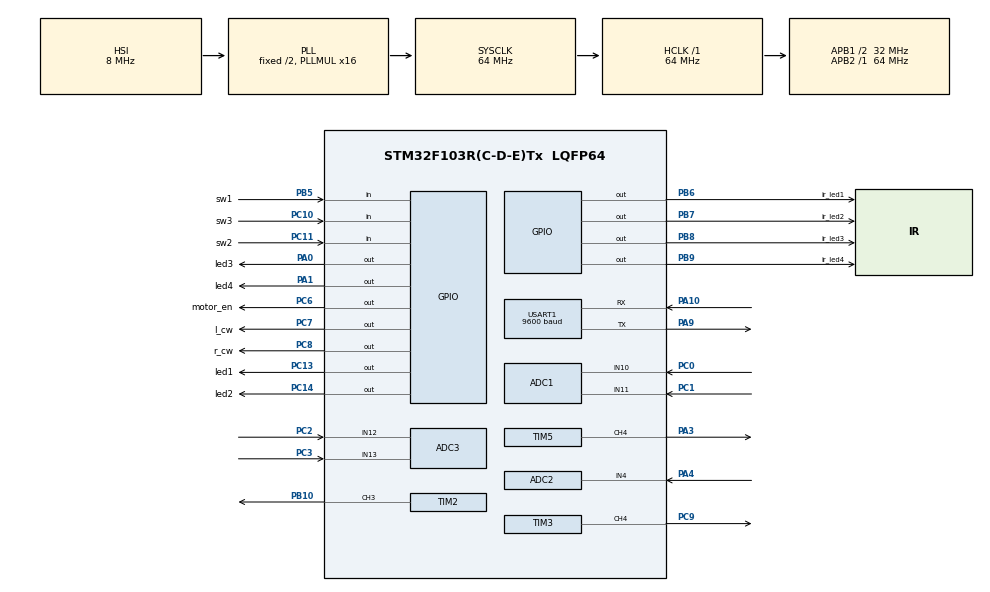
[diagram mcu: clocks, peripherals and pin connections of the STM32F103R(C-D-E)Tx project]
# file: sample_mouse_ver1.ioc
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ADC1.Channel-0\#ChannelRegularConversion=ADC_CHANNEL_10
ADC1.ContinuousConvMode=DISABLE
ADC1.DataAlign=ADC_DATAALIGN_RIGHT
ADC1.DiscontinuousConvMode=DISABLE
ADC1.EnableAnalogWatchDog=false
ADC1.EnableRegularConversion=ENABLE
ADC1.ExternalTrigConv=ADC_SOFTWARE_START
ADC1.InjNumberOfConversion=0
ADC1.NbrOfConversion=1
ADC1.NbrOfConversionFlag=1
ADC1.Rank-0\#ChannelRegularConversion=1
ADC1.SamplingTime-0\#ChannelRegularConversion=ADC_SAMPLETIME_55CYCLES_5
ADC1.ScanConvMode=ADC_SCAN_DISABLE
ADC1.master=1
ADC2.Channel-7\#ChannelRegularConversion=ADC_CHANNEL_4
ADC2.ContinuousConvMode=DISABLE
ADC2.DataAlign=ADC_DATAALIGN_RIGHT
ADC2.DiscontinuousConvMode=DISABLE
ADC2.EnableAnalogWatchDog=false
ADC2.EnableRegularConversion=ENABLE
ADC2.ExternalTrigConv=ADC_SOFTWARE_START
ADC2.InjNumberOfConversion=0
ADC2.NbrOfConversion=1
ADC2.NbrOfConversionFlag=1
ADC2.Rank-7\#ChannelRegularConversion=1
ADC2.SamplingTime-7\#ChannelRegularConversion=ADC_SAMPLETIME_55CYCLES_5
ADC2.ScanConvMode=ADC_SCAN_DISABLE
ADC3.Channel-0\#ChannelRegularConversion=ADC_CHANNEL_12
ADC3.NbrOfConversionFlag=1
ADC3.Rank-0\#ChannelRegularConversion=1
ADC3.SamplingTime-0\#ChannelRegularConversion=ADC_SAMPLETIME_55CYCLES_5
Mcu.Family=STM32F1
Mcu.Name=STM32F103R(C-D-E)Tx
Mcu.Package=LQFP64
NVIC.PriorityGroup=NVIC_PRIORITYGROUP_4
NVIC.TIM4_IRQn=true\:0\:0\:false\:false\:true\:true
PA0-WKUP.GPIO_Label=led3
PA0-WKUP.Signal=GPIO_Output
PA1.GPIO_Label=led4
PA1.Signal=GPIO_Output
PA10.Mode=Asynchronous
PA10.Signal=USART1_RX
PA3.Signal=S_TIM5_CH4
PA4.Signal=ADCx_IN4
PA9.Mode=Asynchronous
PA9.Signal=USART1_TX
PB10.Signal=S_TIM2_CH3
PB5.GPIO_Label=sw1
PB5.Signal=GPIO_Input
PB6.GPIO_Label=ir_led1
PB6.Signal=GPIO_Output
PB7.GPIO_Label=ir_led2
PB7.Signal=GPIO_Output
PB8.GPIO_Label=ir_led3
PB8.Signal=GPIO_Output
PB9.GPIO_Label=ir_led4
PB9.Signal=GPIO_Output
PC0.Signal=ADCx_IN10
PC1.Signal=ADCx_IN11
PC10.GPIO_Label=sw3
PC10.Signal=GPIO_Input
PC11.GPIO_Label=sw2
PC11.Signal=GPIO_Input
PC13-TAMPER-RTC.GPIO_Label=led1
PC13-TAMPER-RTC.Signal=GPIO_Output
PC14-OSC32_IN.GPIO_Label=led2
PC14-OSC32_IN.Signal=GPIO_Output
PC2.Signal=ADCx_IN12
PC3.Signal=ADCx_IN13
PC6.GPIO_Label=motor_en
PC6.Signal=GPIO_Output
PC7.GPIO_Label=l_cw
PC7.Signal=GPIO_Output
PC8.GPIO_Label=r_cw
PC8.Signal=GPIO_Output
PC9.Signal=S_TIM3_CH4
ProjectManager.HeapSize=0x200
ProjectManager.StackSize=0x400
ProjectManager.TargetToolchain=TrueSTUDIO
RCC.ADCPresc=RCC_ADCPCLK2_DIV8
RCC.AHBFreq_Value=64000000
RCC.APB1CLKDivider=RCC_HCLK_DIV2
RCC.APB1Freq_Value=32000000
RCC.APB1TimFreq_Value=64000000
RCC.APB2Freq_Value=64000000
RCC.APB2TimFreq_Value=64000000
RCC.HCLKFreq_Value=64000000
RCC.PLLMUL=RCC_PLL_MUL16
RCC.SYSCLKFreq_VALUE=64000000
RCC.SYSCLKSource=RCC_SYSCLKSOURCE_PLLCLK
RCC.USBFreq_Value=64000000
SH.ADCx_IN10.0=ADC1_IN10,IN10
SH.ADCx_IN11.0=ADC1_IN11,IN11
SH.ADCx_IN12.0=ADC3_IN12,IN12
SH.ADCx_IN13.0=ADC3_IN13,IN13
SH.ADCx_IN4.0=ADC2_IN4,IN4
SH.S_TIM2_CH3.0=TIM2_CH3,PWM Generation3 CH3
SH.S_TIM3_CH4.0=TIM3_CH4,PWM Generation4 CH4
SH.S_TIM5_CH4.0=TIM5_CH4,PWM Generation4 CH4
TIM2.Channel-PWM\ Generation3\ CH3=TIM_CHANNEL_3
TIM2.Period=9
TIM2.Prescaler=6399
TIM3.Channel-PWM\ Generation4\ CH4=TIM_CHANNEL_4
TIM3.Period=9
TIM3.Prescaler=6399
TIM4.Period=7999
TIM4.Prescaler=9
TIM5.Channel-PWM\ Generation4\ CH4=TIM_CHANNEL_4
USART1.BaudRate=9600
USART1.VirtualMode=VM_ASYNC
VP_SYS_VS_ND.Mode=No_Debug
VP_TIM4_VS_ClockSourceINT.Mode=Internal
board=sample_mouse_ver1

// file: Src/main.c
/**
 ******************************************************************************
 * @file           : main.c
 * @brief          : Main program body
 ******************************************************************************
 ** This notice applies to any and all portions of this file
 * that are not between comment pairs USER CODE BEGIN and
 * USER CODE END. Other portions of this file, whether
 * inserted by the user or by software development tools
 * are owned by their respective copyright owners.
 *
 * COPYRIGHT(c) 2019 STMicroelectronics
 *
 * Redistribution and use in source and binary forms, with or without modification,
 * are permitted provided that the following conditions are met:
 *   1. Redistributions of source code must retain the above copyright notice,
 *      this list of conditions and the following disclaimer.
 *   2. Redistributions in binary form must reproduce the above copyright notice,
 *      this list of conditions and the following disclaimer in the documentation
 *      and/or other materials provided with the distribution.
 *   3. Neither the name of STMicroelectronics nor the names of its contributors
 *      may be used to endorse or promote products derived from this software
 *      without specific prior written permission.
 *
 * THIS SOFTWARE IS PROVIDED BY THE COPYRIGHT HOLDERS AND CONTRIBUTORS "AS IS"
 * AND ANY EXPRESS OR IMPLIED WARRANTIES, INCLUDING, BUT NOT LIMITED TO, THE
 * IMPLIED WARRANTIES OF MERCHANTABILITY AND FITNESS FOR A PARTICULAR PURPOSE ARE
 * DISCLAIMED. IN NO EVENT SHALL THE COPYRIGHT HOLDER OR CONTRIBUTORS BE LIABLE
 * FOR ANY DIRECT, INDIRECT, INCIDENTAL, SPECIAL, EXEMPLARY, OR CONSEQUENTIAL
 * DAMAGES (INCLUDING, BUT NOT LIMITED TO, PROCUREMENT OF SUBSTITUTE GOODS OR
 * SERVICES; LOSS OF USE, DATA, OR PROFITS; OR BUSINESS INTERRUPTION) HOWEVER
 * CAUSED AND ON ANY THEORY OF LIABILITY, WHETHER IN CONTRACT, STRICT LIABILITY,
 * OR TORT (INCLUDING NEGLIGENCE OR OTHERWISE) ARISING IN ANY WAY OUT OF THE USE
 * OF THIS SOFTWARE, EVEN IF ADVISED OF THE POSSIBILITY OF SUCH DAMAGE.
 *
 ******************************************************************************
 */
#include "main.h"
#include "stm32f1xx_hal.h"
#include "adc.h"
#include "tim.h"
#include "usart.h"
#include "gpio.h"

/* USER CODE BEGIN PV */
//for printf
#ifdef __GNUC__
#define PUTCHAR_PROTOTYPE int __io_putchar(int ch)
#else
#define PUTCHAR_PROTOTYPE int fputc(int ch, FILE *f)
#endif /* __GNUC__ */
void __io_putchar(uint8_t ch) {
	HAL_UART_Transmit(&huart1, &ch, 1, 1);
}
/* Private variables ---------------------------------------------------------*/

/* USER CODE END PV */

void SystemClock_Config(void);

/* USER CODE BEGIN PFP */
/* Private function prototypes -----------------------------------------------*/
void L_chika(void); //test led on and off
/* USER CODE END PFP */

int main(void) {

	/* MCU Configuration----------------------------------------------------------*/

	/* Reset of all peripherals, Initializes the Flash interface and the Systick. */
	HAL_Init();

	/* Configure the system clock */
	SystemClock_Config();

	/* Initialize all configured peripherals */
	MX_GPIO_Init();
	MX_ADC1_Init();
	MX_ADC2_Init();
	MX_ADC3_Init();
	MX_TIM2_Init();
	MX_TIM3_Init();
	MX_TIM5_Init();
	MX_TIM4_Init();
	MX_USART1_UART_Init();
	/* USER CODE BEGIN 2 */
	HAL_TIM_Base_Start_IT(&htim4);
	setbuf(stdout, NULL);

	/* USER CODE END 2 */

	/* Infinite loop */
	/* USER CODE BEGIN WHILE */
	L_chika();
	//HAL_GPIO_WritePin(led1_GPIO_Port,led1_Pin,GPIO_PIN_SET);
	Motor_Enable();
	Motor_Control(6000, 6000);
	HAL_Delay(500);
	Motor_Control(7000, 7000);
	HAL_Delay(500);
	Motor_Control(8000, 8000);
	HAL_Delay(500);
	Motor_Control(9000, 9000);
	HAL_Delay(500);
	Motor_Control(10000,10000);
	  HAL_Delay(500);
	while (1) {

		/* USER CODE END WHILE */

		/* USER CODE BEGIN 3 */

		//batt_now = (uint16_t)((float)batt*3.3f*51.0f/12.0f/4095.0f);
		//printf("%d",batt_now);
		//update_ADC1();
		//update_ADC2();
		//update_ADC3();
		//printf("%d\r",adc1_ch10);
	}
	/* USER CODE END 3 */

}

void SystemClock_Config(void) {

	RCC_OscInitTypeDef RCC_OscInitStruct;
	RCC_ClkInitTypeDef RCC_ClkInitStruct;
	RCC_PeriphCLKInitTypeDef PeriphClkInit;

	/**Initializes the CPU, AHB and APB busses clocks
	 */
	RCC_OscInitStruct.OscillatorType = RCC_OSCILLATORTYPE_HSI;
	RCC_OscInitStruct.HSIState = RCC_HSI_ON;
	RCC_OscInitStruct.HSICalibrationValue = 16;
	RCC_OscInitStruct.PLL.PLLState = RCC_PLL_ON;
	RCC_OscInitStruct.PLL.PLLSource = RCC_PLLSOURCE_HSI_DIV2;
	RCC_OscInitStruct.PLL.PLLMUL = RCC_PLL_MUL16;
	if (HAL_RCC_OscConfig(&RCC_OscInitStruct) != HAL_OK) {
		_Error_Handler(__FILE__, __LINE__);
	}

	/**Initializes the CPU, AHB and APB busses clocks
	 */
	RCC_ClkInitStruct.ClockType = RCC_CLOCKTYPE_HCLK | RCC_CLOCKTYPE_SYSCLK
			| RCC_CLOCKTYPE_PCLK1 | RCC_CLOCKTYPE_PCLK2;
	RCC_ClkInitStruct.SYSCLKSource = RCC_SYSCLKSOURCE_PLLCLK;
	RCC_ClkInitStruct.AHBCLKDivider = RCC_SYSCLK_DIV1;
	RCC_ClkInitStruct.APB1CLKDivider = RCC_HCLK_DIV2;
	RCC_ClkInitStruct.APB2CLKDivider = RCC_HCLK_DIV1;

	if (HAL_RCC_ClockConfig(&RCC_ClkInitStruct, FLASH_LATENCY_2) != HAL_OK) {
		_Error_Handler(__FILE__, __LINE__);
	}

	PeriphClkInit.PeriphClockSelection = RCC_PERIPHCLK_ADC;
	PeriphClkInit.AdcClockSelection = RCC_ADCPCLK2_DIV8;
	if (HAL_RCCEx_PeriphCLKConfig(&PeriphClkInit) != HAL_OK) {
		_Error_Handler(__FILE__, __LINE__);
	}

	/**Configure the Systick interrupt time
	 */
	HAL_SYSTICK_Config(HAL_RCC_GetHCLKFreq() / 1000);

	/**Configure the Systick
	 */
	HAL_SYSTICK_CLKSourceConfig(SYSTICK_CLKSOURCE_HCLK);

	/* SysTick_IRQn interrupt configuration */
	HAL_NVIC_SetPriority(SysTick_IRQn, 0, 0);
}

/* USER CODE BEGIN 4 */
void L_chika(void) {
	HAL_GPIO_WritePin(led1_GPIO_Port, led1_Pin, 1);
	HAL_GPIO_WritePin(led2_GPIO_Port, led2_Pin, 1);
	HAL_GPIO_WritePin(led3_GPIO_Port, led3_Pin, 1);
	HAL_GPIO_WritePin(led4_GPIO_Port, led4_Pin, 1);

	HAL_Delay(1000);

	HAL_GPIO_WritePin(led1_GPIO_Port, led1_Pin, 0);
	HAL_GPIO_WritePin(led2_GPIO_Port, led2_Pin, 0);
	HAL_GPIO_WritePin(led3_GPIO_Port, led3_Pin, 0);
	HAL_GPIO_WritePin(led4_GPIO_Port, led4_Pin, 0);

	HAL_Delay(1000);
}
/* USER CODE END 4 */

void _Error_Handler(char *file, int line) {
	while (1) {
	}
}

/************************ (C) COPYRIGHT STMicroelectronics *****END OF FILE****/
